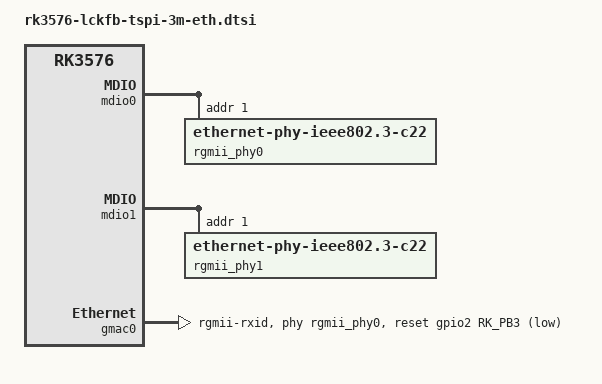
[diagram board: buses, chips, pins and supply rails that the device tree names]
/********************************************************************
 * SPDX-License-Identifier: (GPL-2.0+ OR MIT)
 * 
 * Copyright (c) 2023 Rockchip Electronics Co., Ltd.
 * Copyright (c) 2026 LCKFB <lckfb@sz-jlc.com>
 *********************************************************************
 * Wiki-(Chinese)：https://wiki.lckfb.com/
 * Wiki-(English)：https://wiki.lckfb.com/en/
 *********************************************************************/

/*-----------------------------------------------------------
 * MDIO0 Bus: RGMII PHY Node
 * compatible: Standard Ethernet PHY type
 * reg: PHY address
 * clocks: 25MHz reference clock, usually for PHY crystal and link synchronization
 *----------------------------------------------------------*/
&mdio0 {
	rgmii_phy0: phy@1 {
		compatible = "ethernet-phy-ieee802.3-c22";  // Standard C22 Ethernet PHY
		reg = <0x1>;                                // PHY address 1
		clocks = <&cru REFCLKO25M_GMAC0_OUT>;       // 25MHz reference clock
	};
};

/*-----------------------------------------------------------
 * MDIO1 Bus: RGMII PHY1 Node
 *----------------------------------------------------------*/
&mdio1 {
	rgmii_phy1: phy@1 {
		compatible = "ethernet-phy-ieee802.3-c22";
		reg = <0x1>;
		clocks = <&cru REFCLKO25M_GMAC1_OUT>;
	};
};

/*-----------------------------------------------------------
 * GMAC0 Main Controller Node
 * phy-mode: RGMII-RXID mode, disable SoC internal RX delay, handled by PHY
 * clock_in_out: 25MHz clock output to PHY
 * snps,reset-gpio: PHY reset pin, active low reset
 * snps,reset-active-low: Reset signal active low
 * snps,reset-delays-us: Reset timing (0us pull low, 20ms hold, 100ms release)
 * pinctrl-names/pinctrl-0: Bind Ethernet related pins
 * tx_delay: Transmit timing delay (0x22, adapted per board)
 * rx_delay: Receive delay (commented here, default handled by PHY)
 * phy-handle: Bind to rgmii_phy0 under MDIO0
 * status: Enable GMAC0
 *----------------------------------------------------------*/
&gmac0 {
	phy-mode = "rgmii-rxid";    // RGMII mode, RX delay handled by PHY
	clock_in_out = "output";

	snps,reset-gpio = <&gpio2 RK_PB3 GPIO_ACTIVE_LOW>;  // PHY reset GPIO, active low
	snps,reset-active-low;                              // Reset active low
	snps,reset-delays-us = <0 20000 100000>;            // Reset timing, 0us pull low→20ms hold→100ms release

	pinctrl-names = "default";
	pinctrl-0 = <&eth0m0_miim
			&eth0m0_tx_bus2
			&eth0m0_rx_bus2
			&eth0m0_rgmii_clk
			&eth0m0_rgmii_bus
			&eth0m0_mclk>;

	tx_delay = <0x24>;  // TX timing delay (requires board-level calibration)

    /* disable internal rx delay */
	/* rx_delay = <>; */

	phy-handle = <&rgmii_phy0>;     // Specify physical PHY binding
	status = "okay";                // Enable GMAC0
};


/*-----------------------------------------------------------
 * GMAC1 Controller Node
 * Default status = "disabled", disabled because second Ethernet port is not exposed
 *----------------------------------------------------------*/
&gmac1 {
	status = "disabled";
};
